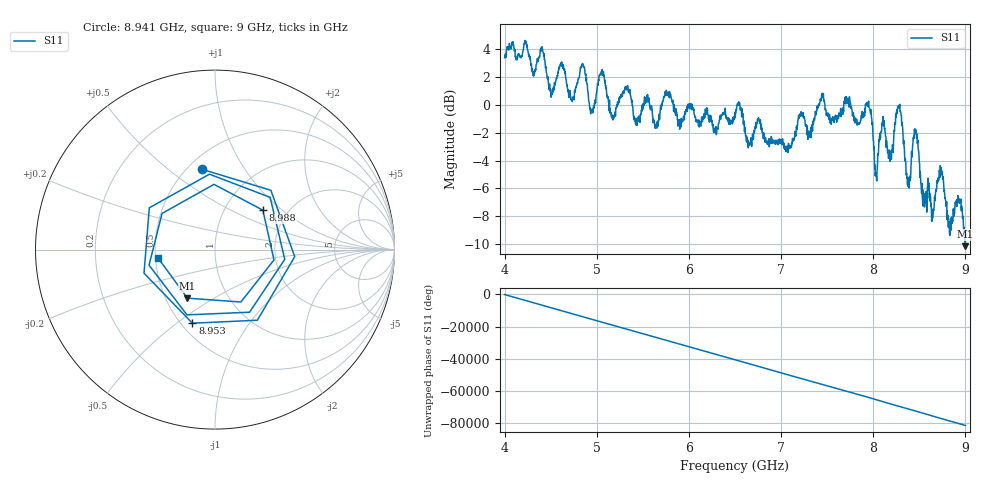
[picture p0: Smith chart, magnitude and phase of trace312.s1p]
! Created with skrf 1.8.0 (http://scikit-rf.org).
# Hz S RI R 50.0
!freq ReS11 ImS11
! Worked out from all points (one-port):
!   1601 points, 4 GHz to 9 GHz, reference 50 ohm
!   lowest |S11| = -10.1 dB at 8.997 GHz (marker M1), VSWR 1.90, Z = 32.2 - j19.3 ohm
!   |S11| at or under -10 dB: 8.995925 GHz to 8.998531 GHz (2.605 MHz wide, 0.029 % of centre)
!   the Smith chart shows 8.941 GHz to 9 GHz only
!   S11 on the Smith chart (normalised r, x): 8.941 GHz: 0.59, +0.66; 8.953 GHz: 0.57, -0.57; 8.988 GHz: 1.50, +0.75; 9 GHz: 0.52, -0.05
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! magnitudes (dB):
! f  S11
! 4 GHz  3.4
! 4.409 GHz  4.1
! 4.506 GHz  0.5
! 4.625 GHz  2.8
! 4.728 GHz  0.4
! 4.856 GHz  2.8
! 4.947 GHz  -0.5
! 5.05 GHz  2.4
! 5.166 GHz  -1.0
! 5.25 GHz  0.6
! 5.875 GHz  -1.1
! 6.5 GHz  -0.5
! 7.125 GHz  -2.4
! 7.444 GHz  0.6
! 7.75 GHz  0.2
! 7.953 GHz  -0.2
! 8.031 GHz  -4.9
! 8.281 GHz  -0.2
! 8.375 GHz  -5.3
! 8.459 GHz  -1.8
! 8.559 GHz  -6.8
! 8.734 GHz  -4.7
! 8.825 GHz  -8.7
! 8.941 GHz  -6.9
! 8.953 GHz  -7.4
! 8.988 GHz  -9.2
! 8.997 GHz  -10.1
! 9 GHz  -9.9
